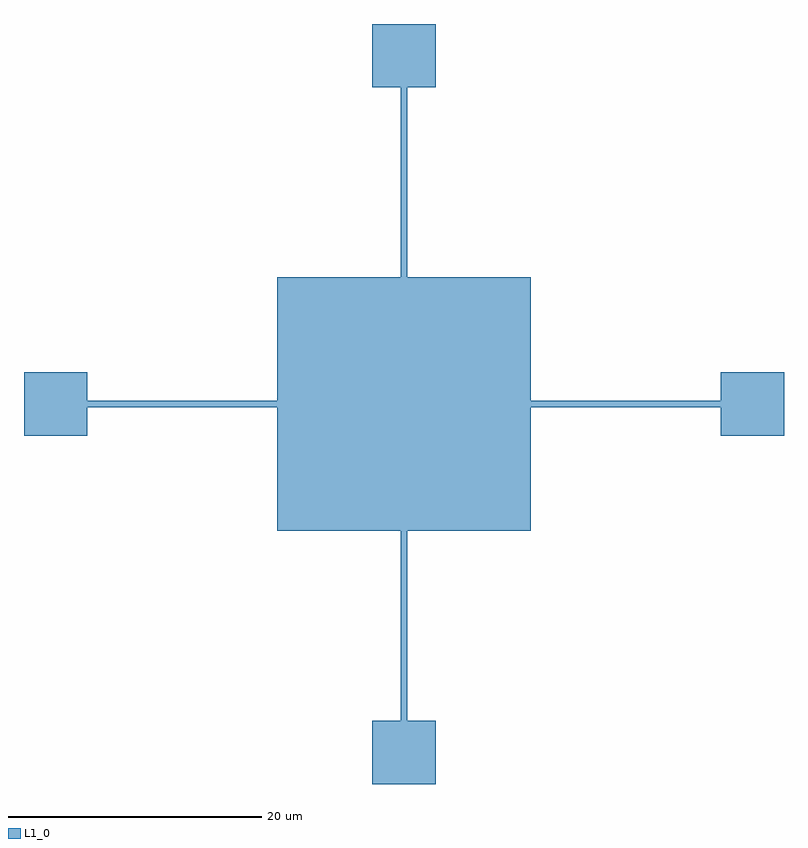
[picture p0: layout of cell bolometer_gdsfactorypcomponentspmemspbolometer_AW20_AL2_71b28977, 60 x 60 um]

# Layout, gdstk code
import gdstk
lib = gdstk.Library(unit=1e-6, precision=1e-09)
def R(c, l, rs):  # rectangles x0, y0, x1, y1
    for r in rs: c.add(gdstk.rectangle(r[:2], r[2:], *l))
L1_0 = (1, 0)

bolometer_gdsfactorypcom = lib.new_cell('bolometer_gdsfactorypcomponentspmemspbolometer_AW20_AL2_71b28977')
R(bolometer_gdsfactorypcom, L1_0, [(-2.5,-30,2.5,-25), (-0.25,-25,0.25,-10), (-10,-10,10,10), (-30,-2.5,-25,2.5), (25,-2.5,30,2.5), (-25,-0.25,-10,0.25), (10,-0.25,25,0.25), (-0.25,10,0.25,25), (-2.5,25,2.5,30)])

lib.write_gds('bolometer_gdsfactorypcomponentspmemspbolometer_AW20_AL2_71b28977.gds')
